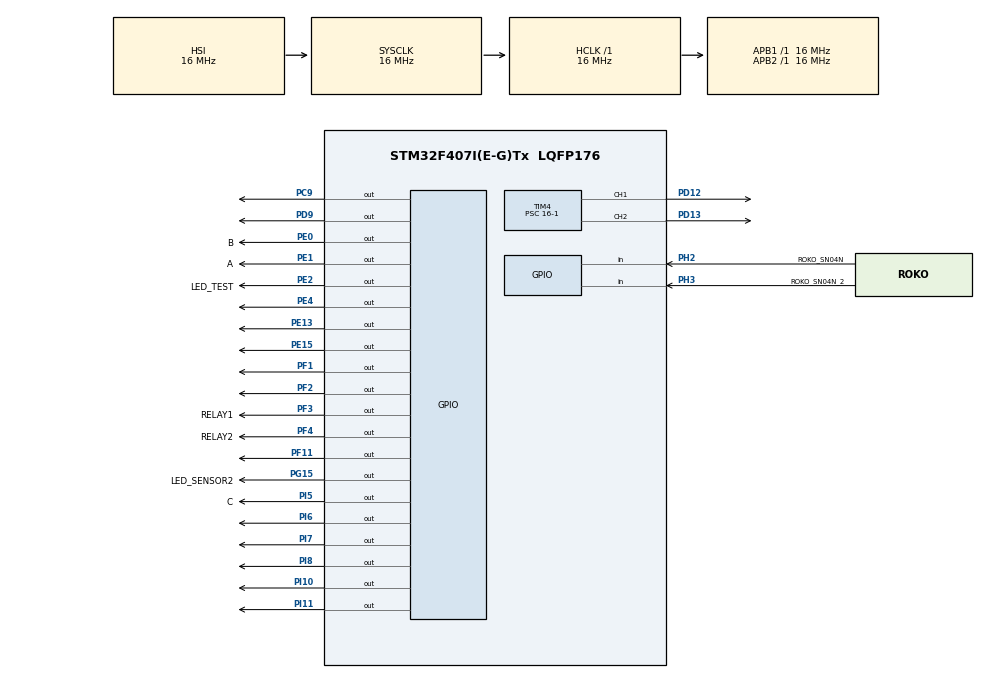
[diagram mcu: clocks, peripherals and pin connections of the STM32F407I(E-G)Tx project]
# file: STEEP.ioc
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Mcu.Family=STM32F4
Mcu.Name=STM32F407I(E-G)Tx
Mcu.Package=LQFP176
NVIC.PriorityGroup=NVIC_PRIORITYGROUP_4
PA13.Mode=Serial_Wire
PA13.Signal=SYS_JTMS-SWDIO
PA14.Mode=Serial_Wire
PA14.Signal=SYS_JTCK-SWCLK
PC14-OSC32_IN.Mode=LSE-External-Oscillator
PC14-OSC32_IN.Signal=RCC_OSC32_IN
PC15-OSC32_OUT.Mode=LSE-External-Oscillator
PC15-OSC32_OUT.Signal=RCC_OSC32_OUT
PC9.GPIO_Speed=GPIO_SPEED_FREQ_VERY_HIGH
PC9.Signal=GPIO_Output
PD12.Signal=S_TIM4_CH1
PD13.Signal=S_TIM4_CH2
PD9.GPIO_Speed=GPIO_SPEED_FREQ_VERY_HIGH
PD9.Signal=GPIO_Output
PE0.GPIO_Label=B
PE0.PinState=GPIO_PIN_SET
PE0.Signal=GPIO_Output
PE1.GPIO_Label=A
PE1.PinState=GPIO_PIN_SET
PE1.Signal=GPIO_Output
PE13.GPIO_Speed=GPIO_SPEED_FREQ_VERY_HIGH
PE13.PinState=GPIO_PIN_RESET
PE13.Signal=GPIO_Output
PE15.GPIO_Speed=GPIO_SPEED_FREQ_VERY_HIGH
PE15.Signal=GPIO_Output
PE2.GPIO_Label=LED_TEST
PE2.GPIO_PuPd=GPIO_PULLUP
PE2.PinState=GPIO_PIN_SET
PE2.Signal=GPIO_Output
PE4.GPIO_PuPd=GPIO_PULLUP
PE4.GPIO_Speed=GPIO_SPEED_FREQ_HIGH
PE4.Signal=GPIO_Output
PF1.GPIO_Speed=GPIO_SPEED_FREQ_VERY_HIGH
PF1.Signal=GPIO_Output
PF11.GPIO_Speed=GPIO_SPEED_FREQ_VERY_HIGH
PF11.Signal=GPIO_Output
PF2.GPIO_Speed=GPIO_SPEED_FREQ_VERY_HIGH
PF2.Signal=GPIO_Output
PF3.GPIO_Label=RELAY1
PF3.GPIO_Speed=GPIO_SPEED_FREQ_VERY_HIGH
PF3.PinState=GPIO_PIN_RESET
PF3.Signal=GPIO_Output
PF4.GPIO_Label=RELAY2
PF4.GPIO_Speed=GPIO_SPEED_FREQ_VERY_HIGH
PF4.PinState=GPIO_PIN_RESET
PF4.Signal=GPIO_Output
PG15.GPIO_Label=LED_SENSOR2
PG15.GPIO_PuPd=GPIO_PULLUP
PG15.PinState=GPIO_PIN_SET
PG15.Signal=GPIO_Output
PH0-OSC_IN.Mode=HSE-External-Oscillator
PH0-OSC_IN.Signal=RCC_OSC_IN
PH1-OSC_OUT.Mode=HSE-External-Oscillator
PH1-OSC_OUT.Signal=RCC_OSC_OUT
PH2.GPIO_Label=ROKO_SN04N
PH2.Signal=GPIO_Input
PH3.GPIO_Label=ROKO_SN04N_2
PH3.Signal=GPIO_Input
PI10.GPIO_Speed=GPIO_SPEED_FREQ_VERY_HIGH
PI10.Signal=GPIO_Output
PI11.GPIO_Speed=GPIO_SPEED_FREQ_VERY_HIGH
PI11.Signal=GPIO_Output
PI5.GPIO_Label=C
PI5.PinState=GPIO_PIN_SET
PI5.Signal=GPIO_Output
PI6.GPIO_PuPd=GPIO_PULLUP
PI6.GPIO_Speed=GPIO_SPEED_FREQ_HIGH
PI6.PinState=GPIO_PIN_RESET
PI6.Signal=GPIO_Output
PI7.GPIO_Speed=GPIO_SPEED_FREQ_VERY_HIGH
PI7.Signal=GPIO_Output
PI8-\ ANTI\ TAMP2.GPIO_PuPd=GPIO_PULLUP
PI8-\ ANTI\ TAMP2.GPIO_Speed=GPIO_SPEED_FREQ_HIGH
PI8-\ ANTI\ TAMP2.Signal=GPIO_Output
ProjectManager.HeapSize=0x200
ProjectManager.StackSize=0x400
ProjectManager.TargetToolchain=MDK-ARM V5.32
RCC.AHBFreq_Value=16000000
RCC.APB1Freq_Value=16000000
RCC.APB2Freq_Value=16000000
RCC.CortexFreq_Value=16000000
RCC.HSE_VALUE=25000000
RCC.HSI_VALUE=16000000
RCC.SYSCLKFreq_VALUE=16000000
RCC.VCOOutputFreq_Value=192000000
SH.S_TIM4_CH1.0=TIM4_CH1,PWM Generation1 CH1
SH.S_TIM4_CH2.0=TIM4_CH2,PWM Generation2 CH2
TIM4.Channel-PWM\ Generation1\ CH1=TIM_CHANNEL_1
TIM4.Channel-PWM\ Generation2\ CH2=TIM_CHANNEL_2
TIM4.OCPolarity_1=TIM_OCPOLARITY_LOW
TIM4.OCPolarity_2=TIM_OCPOLARITY_LOW
TIM4.Period=20000-1
TIM4.Prescaler=16-1
TIM4.Pulse-PWM\ Generation1\ CH1=1500
TIM4.Pulse-PWM\ Generation2\ CH2=1500
board=custom

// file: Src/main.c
/* USER CODE BEGIN Header */
/**
  ******************************************************************************
  * @file           : main.c
  * @brief          : Main program body
  ******************************************************************************
  * @attention
  *
  * Copyright (c) 2026 STMicroelectronics.
  * All rights reserved.
  *
  ******************************************************************************
  */
/* USER CODE END Header */

#include "main.h"
#include "gpio.h"
#include "tim.h"

/* USER CODE BEGIN PTD */
typedef struct
{
  GPIO_TypeDef *DIR_Port;
  uint16_t      DIR_Pin;

  GPIO_TypeDef *EN_Port;
  uint16_t      EN_Pin;
  uint8_t       Has_EN;

  GPIO_TypeDef *PUL_Port;
  uint16_t      PUL_Pin;
} StepperMotor_t;
/* USER CODE END PTD */

/* USER CODE BEGIN PD */

#define HIGH GPIO_PIN_SET
#define LOW  GPIO_PIN_RESET

/* Low level enable */
#define ON   LOW
#define OFF  HIGH

#define CW   GPIO_PIN_SET
#define CCW  GPIO_PIN_RESET

#define M1_STEP_US      5000U
#define M2_STEP_US      1000U
#define M3_STEP_US      1000U
#define M4_STEP_US      1000U
#define M5_STEP_US      800U
#define M6_STEP_US      300U
#define STEP_SUBDIVIDE  8.0f

/* Sensor1: J40 PH2 */
#define ROKO1_PORT GPIOH
#define ROKO1_PIN  GPIO_PIN_2

/* Sensor2: J40 PH3 */
#define ROKO2_PORT GPIOH
#define ROKO2_PIN  GPIO_PIN_3

/* LED for Sensor1: PE2 */
#define LED1_PORT  GPIOE
#define LED1_PIN   GPIO_PIN_2

/* LED for Sensor2: PG15 */
#define LED2_PORT  GPIOG
#define LED2_PIN   GPIO_PIN_15

#define LED_ON     GPIO_PIN_RESET
#define LED_OFF    GPIO_PIN_SET

/* Relay */
#define RELAY1_PORT GPIOF
#define RELAY1_PIN  GPIO_PIN_3   /* PF3 */

#define RELAY2_PORT GPIOF
#define RELAY2_PIN  GPIO_PIN_4   /* PF4 */

/*
   Relay output logic used by this program:
   GPIO_PIN_SET   = relay ON
   GPIO_PIN_RESET = relay OFF
*/
#define RELAY_ON    GPIO_PIN_SET
#define RELAY_OFF   GPIO_PIN_RESET

/* Motor1: J25 */
#define M1_DIR_PORT GPIOE
#define M1_DIR_PIN  GPIO_PIN_1
#define M1_EN_PORT  GPIOE
#define M1_EN_PIN   GPIO_PIN_0
#define M1_PUL_PORT GPIOI
#define M1_PUL_PIN  GPIO_PIN_5

/* Motor2: J26 */
#define M2_DIR_PORT GPIOI
#define M2_DIR_PIN  GPIO_PIN_8
#define M2_EN_PORT  GPIOE
#define M2_EN_PIN   GPIO_PIN_4
#define M2_PUL_PORT GPIOI
#define M2_PUL_PIN  GPIO_PIN_6

/* Motor3: J31 */
#define M3_DIR_PORT GPIOI
#define M3_DIR_PIN  GPIO_PIN_11
#define M3_EN_PORT  GPIOI
#define M3_EN_PIN   GPIO_PIN_10
#define M3_PUL_PORT GPIOI
#define M3_PUL_PIN  GPIO_PIN_7

/* Motor4: J32 */
#define M4_DIR_PORT GPIOF
#define M4_DIR_PIN  GPIO_PIN_2
#define M4_EN_PORT  GPIOF
#define M4_EN_PIN   GPIO_PIN_1
#define M4_PUL_PORT GPIOC
#define M4_PUL_PIN  GPIO_PIN_9

/* Motor5: External MD4CH */
#define M5_DIR_PORT GPIOE
#define M5_DIR_PIN  GPIO_PIN_15
#define M5_EN_PORT  NULL
#define M5_EN_PIN   GPIO_PIN_0
#define M5_PUL_PORT GPIOE
#define M5_PUL_PIN  GPIO_PIN_13

/* Motor6: External MD4CH */
#define M6_DIR_PORT GPIOF
#define M6_DIR_PIN  GPIO_PIN_11
#define M6_EN_PORT  NULL
#define M6_EN_PIN   GPIO_PIN_0
#define M6_PUL_PORT GPIOD
#define M6_PUL_PIN  GPIO_PIN_9

/*
   Servo 1 connection: J28 -> PD12 -> TIM4_CH1

   After Motor 5 finishes, Servo 1 rotates outward for about 90 degrees.
   At the end of the sequence, Servo 1 returns to its original position.
*/
#define SERVO1_STOP_US          1500U
#define SERVO1_CCW_US           1350U
#define SERVO1_CW_US            1650U
#define SERVO1_ROTATE_TIME_MS   900U

/*
   Servo 2 connection: J29 -> PD13 -> TIM4_CH2

   After Motor 3 finishes its motion, Servo 2 performs one forward-and-return action.
*/
#define SERVO2_STOP_US          1500U
#define SERVO2_CCW_US           1350U
#define SERVO2_CW_US            1650U
#define SERVO2_ROTATE_TIME_MS   1500U

/* USER CODE END PD */

/* USER CODE BEGIN PV */

static StepperMotor_t motor1 =
{
  M1_DIR_PORT, M1_DIR_PIN,
  M1_EN_PORT,  M1_EN_PIN, 1,
  M1_PUL_PORT, M1_PUL_PIN
};

static StepperMotor_t motor2 =
{
  M2_DIR_PORT, M2_DIR_PIN,
  M2_EN_PORT,  M2_EN_PIN, 1,
  M2_PUL_PORT, M2_PUL_PIN
};

static StepperMotor_t motor3 =
{
  M3_DIR_PORT, M3_DIR_PIN,
  M3_EN_PORT,  M3_EN_PIN, 1,
  M3_PUL_PORT, M3_PUL_PIN
};

static StepperMotor_t motor4 =
{
  M4_DIR_PORT, M4_DIR_PIN,
  M4_EN_PORT,  M4_EN_PIN, 1,
  M4_PUL_PORT, M4_PUL_PIN
};

static StepperMotor_t motor5 =
{
  M5_DIR_PORT, M5_DIR_PIN,
  M5_EN_PORT,  M5_EN_PIN, 0,
  M5_PUL_PORT, M5_PUL_PIN
};

static StepperMotor_t motor6 =
{
  M6_DIR_PORT, M6_DIR_PIN,
  M6_EN_PORT,  M6_EN_PIN, 0,
  M6_PUL_PORT, M6_PUL_PIN
};

/* USER CODE END PV */

void SystemClock_Config(void);

/* USER CODE BEGIN PFP */
static void delay_us_init(void);
static void delay_us(uint32_t us);

static void Stepper_GPIO_Manual_Init(void);
static void Sensor_LED_Manual_Init(void);

static void Stepper_SetDir(StepperMotor_t *m, GPIO_PinState dir);
static void Stepper_SetEn(StepperMotor_t *m, GPIO_PinState en_state);
static void Stepper_Pulse(StepperMotor_t *m, uint32_t tim_us);
static void Stepper_Init(StepperMotor_t *m);
static void Stepper_Turn(StepperMotor_t *m, uint32_t tim_us, float angle, float subdivide, GPIO_PinState dir);

static uint8_t Sensor1_IsTriggered(void);
static uint8_t Sensor2_IsTriggered(void);
static void Sensor_LED_Update(void);

static void Relay_Set(GPIO_TypeDef *port, uint16_t pin, GPIO_PinState state);
static void Relay_All_Off(void);

static void Stepper_Run_CW_Until_Sensor1(StepperMotor_t *m, uint32_t tim_us);
static void Wait_Until_Sensor2_Triggered(void);
static void Linkage_Run_Once(void);

/* J28 Servo1 */
static void Servo1_Start(void);
static void Servo1_SetPulse(uint16_t pulse_us);
static void Servo1_Stop(void);
static void Servo1_CCW(void);
static void Servo1_CW(void);
static void Servo1_TurnOut_After_Motor5(void);
static void Servo1_Return_At_End(void);

/* J29 Servo2 */
static void Servo2_Start(void);
static void Servo2_SetPulse(uint16_t pulse_us);
static void Servo2_Stop(void);
static void Servo2_CCW(void);
static void Servo2_CW(void);
static void Servo2_Action_After_Motor3(void);
/* USER CODE END PFP */

/* USER CODE BEGIN 0 */

static void Stepper_GPIO_Manual_Init(void)
{
  GPIO_InitTypeDef GPIO_InitStruct = {0};

  __HAL_RCC_GPIOC_CLK_ENABLE();
  __HAL_RCC_GPIOD_CLK_ENABLE();
  __HAL_RCC_GPIOE_CLK_ENABLE();
  __HAL_RCC_GPIOF_CLK_ENABLE();
  __HAL_RCC_GPIOI_CLK_ENABLE();

  /*
     GPIOE:
     PE0  -> M1_EN
     PE1  -> M1_DIR
     PE4  -> M2_EN
     PE13 -> M5_PUL
     PE15 -> M5_DIR
  */
  HAL_GPIO_WritePin(GPIOE, GPIO_PIN_0 | GPIO_PIN_4, GPIO_PIN_SET);
  HAL_GPIO_WritePin(GPIOE, GPIO_PIN_1 | GPIO_PIN_13 | GPIO_PIN_15, GPIO_PIN_RESET);

  GPIO_InitStruct.Pin = GPIO_PIN_0 | GPIO_PIN_1 | GPIO_PIN_4 | GPIO_PIN_13 | GPIO_PIN_15;
  GPIO_InitStruct.Mode = GPIO_MODE_OUTPUT_PP;
  GPIO_InitStruct.Pull = GPIO_NOPULL;
  GPIO_InitStruct.Speed = GPIO_SPEED_FREQ_VERY_HIGH;
  HAL_GPIO_Init(GPIOE, &GPIO_InitStruct);

  /*
     GPIOI:
     PI5  -> M1_PUL
     PI6  -> M2_PUL
     PI8  -> M2_DIR
     PI7  -> M3_PUL
     PI10 -> M3_EN
     PI11 -> M3_DIR
  */
  HAL_GPIO_WritePin(GPIOI, GPIO_PIN_10, GPIO_PIN_SET);
  HAL_GPIO_WritePin(GPIOI, GPIO_PIN_5 | GPIO_PIN_6 | GPIO_PIN_7 | GPIO_PIN_8 | GPIO_PIN_11, GPIO_PIN_RESET);

  GPIO_InitStruct.Pin = GPIO_PIN_5 | GPIO_PIN_6 | GPIO_PIN_7 |
                        GPIO_PIN_8 | GPIO_PIN_10 | GPIO_PIN_11;
  GPIO_InitStruct.Mode = GPIO_MODE_OUTPUT_PP;
  GPIO_InitStruct.Pull = GPIO_NOPULL;
  GPIO_InitStruct.Speed = GPIO_SPEED_FREQ_VERY_HIGH;
  HAL_GPIO_Init(GPIOI, &GPIO_InitStruct);

  /*
     GPIOC:
     PC9 -> M4_PUL
  */
  HAL_GPIO_WritePin(GPIOC, GPIO_PIN_9, GPIO_PIN_RESET);

  GPIO_InitStruct.Pin = GPIO_PIN_9;
  GPIO_InitStruct.Mode = GPIO_MODE_OUTPUT_PP;
  GPIO_InitStruct.Pull = GPIO_NOPULL;
  GPIO_InitStruct.Speed = GPIO_SPEED_FREQ_VERY_HIGH;
  HAL_GPIO_Init(GPIOC, &GPIO_InitStruct);

  /*
     GPIOF:
     PF1  -> M4_EN
     PF2  -> M4_DIR
     PF3  -> Relay1
     PF4  -> Relay2
     PF11 -> M6_DIR
  */
  HAL_GPIO_WritePin(GPIOF, GPIO_PIN_1, GPIO_PIN_SET);
  HAL_GPIO_WritePin(GPIOF, GPIO_PIN_2 | GPIO_PIN_11, GPIO_PIN_RESET);

  /*
     Initialize both relay outputs to the OFF state:
     GPIO_PIN_RESET = relay OFF
  */
  HAL_GPIO_WritePin(GPIOF, GPIO_PIN_3 | GPIO_PIN_4, GPIO_PIN_RESET);

  GPIO_InitStruct.Pin = GPIO_PIN_1 | GPIO_PIN_2 | GPIO_PIN_3 |
                        GPIO_PIN_4 | GPIO_PIN_11;
  GPIO_InitStruct.Mode = GPIO_MODE_OUTPUT_PP;
  GPIO_InitStruct.Pull = GPIO_NOPULL;
  GPIO_InitStruct.Speed = GPIO_SPEED_FREQ_VERY_HIGH;
  HAL_GPIO_Init(GPIOF, &GPIO_InitStruct);

  /*
     GPIOD:
     PD9 -> M6_PUL

     Important:
     PD12 is used by J28 Servo 1 through TIM4_CH1 and must be configured by CubeMX.
     PD13 is used by J29 Servo 2 through TIM4_CH2 and must be configured by CubeMX.
     Do not reconfigure PD12 or PD13 as ordinary GPIO outputs here.
  */
  HAL_GPIO_WritePin(GPIOD, GPIO_PIN_9, GPIO_PIN_RESET);

  GPIO_InitStruct.Pin = GPIO_PIN_9;
  GPIO_InitStruct.Mode = GPIO_MODE_OUTPUT_PP;
  GPIO_InitStruct.Pull = GPIO_NOPULL;
  GPIO_InitStruct.Speed = GPIO_SPEED_FREQ_VERY_HIGH;
  HAL_GPIO_Init(GPIOD, &GPIO_InitStruct);
}

static void Sensor_LED_Manual_Init(void)
{
  GPIO_InitTypeDef GPIO_InitStruct = {0};

  __HAL_RCC_GPIOH_CLK_ENABLE();
  __HAL_RCC_GPIOE_CLK_ENABLE();
  __HAL_RCC_GPIOG_CLK_ENABLE();

  /*
     PH2 -> Sensor1
     PH3 -> Sensor2

     Sensor input logic:
     GPIO_PIN_RESET = sensor triggered
     GPIO_PIN_SET   = sensor not triggered
  */
  GPIO_InitStruct.Pin = ROKO1_PIN | ROKO2_PIN;
  GPIO_InitStruct.Mode = GPIO_MODE_INPUT;
  GPIO_InitStruct.Pull = GPIO_NOPULL;
  HAL_GPIO_Init(GPIOH, &GPIO_InitStruct);

  /*
     PE2  -> Sensor1 LED
     PG15 -> Sensor2 LED

     LED:
     GPIO_PIN_RESET = LED ON
     GPIO_PIN_SET   = LED OFF
  */
  HAL_GPIO_WritePin(LED1_PORT, LED1_PIN, LED_OFF);
  HAL_GPIO_WritePin(LED2_PORT, LED2_PIN, LED_OFF);

  GPIO_InitStruct.Pin = LED1_PIN;
  GPIO_InitStruct.Mode = GPIO_MODE_OUTPUT_PP;
  GPIO_InitStruct.Pull = GPIO_PULLUP;
  GPIO_InitStruct.Speed = GPIO_SPEED_FREQ_LOW;
  HAL_GPIO_Init(LED1_PORT, &GPIO_InitStruct);

  GPIO_InitStruct.Pin = LED2_PIN;
  GPIO_InitStruct.Mode = GPIO_MODE_OUTPUT_PP;
  GPIO_InitStruct.Pull = GPIO_PULLUP;
  GPIO_InitStruct.Speed = GPIO_SPEED_FREQ_LOW;
  HAL_GPIO_Init(LED2_PORT, &GPIO_InitStruct);
}

static void delay_us_init(void)
{
  CoreDebug->DEMCR |= CoreDebug_DEMCR_TRCENA_Msk;
  DWT->CYCCNT = 0;
  DWT->CTRL |= DWT_CTRL_CYCCNTENA_Msk;
}

static void delay_us(uint32_t us)
{
  uint32_t ticks = us * (HAL_RCC_GetHCLKFreq() / 1000000U);
  uint32_t start = DWT->CYCCNT;

  while ((DWT->CYCCNT - start) < ticks)
  {
  }
}

static void Stepper_SetDir(StepperMotor_t *m, GPIO_PinState dir)
{
  HAL_GPIO_WritePin(m->DIR_Port, m->DIR_Pin, dir);
}

static void Stepper_SetEn(StepperMotor_t *m, GPIO_PinState en_state)
{
  if (m->Has_EN && m->EN_Port != NULL)
  {
    HAL_GPIO_WritePin(m->EN_Port, m->EN_Pin, en_state);
  }
}

static void Stepper_Pulse(StepperMotor_t *m, uint32_t tim_us)
{
  HAL_GPIO_WritePin(m->PUL_Port, m->PUL_Pin, HIGH);
  delay_us(tim_us / 2);

  HAL_GPIO_WritePin(m->PUL_Port, m->PUL_Pin, LOW);
  delay_us(tim_us / 2);
}

static void Stepper_Init(StepperMotor_t *m)
{
  Stepper_SetEn(m, OFF);
  HAL_GPIO_WritePin(m->PUL_Port, m->PUL_Pin, LOW);
  Stepper_SetDir(m, CW);
}

static void Stepper_Turn(StepperMotor_t *m, uint32_t tim_us, float angle, float subdivide, GPIO_PinState dir)
{
  int n;
  int i;

  n = (int)(angle / (1.8f / subdivide));

  Stepper_SetDir(m, dir);
  HAL_Delay(5);

  Stepper_SetEn(m, ON);

  for (i = 0; i < n; i++)
  {
    Stepper_Pulse(m, tim_us);
  }

  Stepper_SetEn(m, OFF);
}

static uint8_t Sensor1_IsTriggered(void)
{
  return (HAL_GPIO_ReadPin(ROKO1_PORT, ROKO1_PIN) == GPIO_PIN_RESET);
}

static uint8_t Sensor2_IsTriggered(void)
{
  return (HAL_GPIO_ReadPin(ROKO2_PORT, ROKO2_PIN) == GPIO_PIN_RESET);
}

static void Sensor_LED_Update(void)
{
  if (Sensor1_IsTriggered())
  {
    HAL_GPIO_WritePin(LED1_PORT, LED1_PIN, LED_ON);
  }
  else
  {
    HAL_GPIO_WritePin(LED1_PORT, LED1_PIN, LED_OFF);
  }

  if (Sensor2_IsTriggered())
  {
    HAL_GPIO_WritePin(LED2_PORT, LED2_PIN, LED_ON);
  }
  else
  {
    HAL_GPIO_WritePin(LED2_PORT, LED2_PIN, LED_OFF);
  }
}

static void Relay_Set(GPIO_TypeDef *port, uint16_t pin, GPIO_PinState state)
{
  HAL_GPIO_WritePin(port, pin, state);
}

static void Relay_All_Off(void)
{
  Relay_Set(RELAY1_PORT, RELAY1_PIN, RELAY_OFF);
  Relay_Set(RELAY2_PORT, RELAY2_PIN, RELAY_OFF);
}

/*
   Run Motor 4 in the configured direction
   until Sensor 1 on PH2 is triggered.
*/
static void Stepper_Run_CW_Until_Sensor1(StepperMotor_t *m, uint32_t tim_us)
{
  Stepper_SetDir(m, CCW);
  HAL_Delay(5);

  Stepper_SetEn(m, ON);

  while (!Sensor1_IsTriggered())
  {
    Stepper_Pulse(m, tim_us);
    Sensor_LED_Update();
  }

  Stepper_SetEn(m, OFF);
}

/*
   Wait until Sensor 2 on PH3 is triggered.
*/
static void Wait_Until_Sensor2_Triggered(void)
{
  while (!Sensor2_IsTriggered())
  {
    Sensor_LED_Update();
    HAL_Delay(10);
  }
}

/*
   Servo 1 connection: J28 -> PD12 -> TIM4_CH1
*/
static void Servo1_Start(void)
{
  HAL_TIM_PWM_Start(&htim4, TIM_CHANNEL_1);

  Servo1_Stop();
  HAL_Delay(300);
}

static void Servo1_SetPulse(uint16_t pulse_us)
{
  /*
     This board uses an inverting level-shifter for the servo signal.
     With TIM4 channel polarity configured correctly in CubeMX,
     write the desired pulse width directly to the compare register.
  */
  __HAL_TIM_SET_COMPARE(&htim4, TIM_CHANNEL_1, pulse_us);
}

static void Servo1_Stop(void)
{
  Servo1_SetPulse(SERVO1_STOP_US);
}

static void Servo1_CCW(void)
{
  Servo1_SetPulse(SERVO1_CCW_US);
}

static void Servo1_CW(void)
{
  Servo1_SetPulse(SERVO1_CW_US);
}

/*
   Action after Motor 5 finishes:
   rotate Servo 1 outward for the preset time, then stop it.
*/
static void Servo1_TurnOut_After_Motor5(void)
{
  Servo1_CW();
  HAL_Delay(SERVO1_ROTATE_TIME_MS);

  Servo1_Stop();
  HAL_Delay(300);
}

/*
   Final action of the sequence:
   rotate Servo 1 back to its original position, then stop it.
*/
static void Servo1_Return_At_End(void)
{
  Servo1_CCW();
  HAL_Delay(SERVO1_ROTATE_TIME_MS);

  Servo1_Stop();
  HAL_Delay(300);
}

/*
   Servo 2 connection: J29 -> PD13 -> TIM4_CH2
*/
static void Servo2_Start(void)
{
  HAL_TIM_PWM_Start(&htim4, TIM_CHANNEL_2);

  Servo2_Stop();
  HAL_Delay(4000);
}

static void Servo2_SetPulse(uint16_t pulse_us)
{
  /*
     This board uses an inverting level-shifter for the servo signal.
     With TIM4 channel polarity configured correctly in CubeMX,
     write the desired pulse width directly to the compare register.
  */
  __HAL_TIM_SET_COMPARE(&htim4, TIM_CHANNEL_2, pulse_us);
}

static void Servo2_Stop(void)
{
  Servo2_SetPulse(SERVO2_STOP_US);
}

static void Servo2_CCW(void)
{
  Servo2_SetPulse(SERVO2_CCW_US);
}

static void Servo2_CW(void)
{
  Servo2_SetPulse(SERVO2_CW_US);
}

/*
   Action after Motor 3 finishes:
   rotate Servo 2 in the CCW direction,
   hold the stopped state for 3 seconds,
   then rotate it back in the CW direction and stop.
*/
static void Servo2_Action_After_Motor3(void)
{
  Servo2_CCW();
  HAL_Delay(SERVO2_ROTATE_TIME_MS);

  Servo2_Stop();
  HAL_Delay(3000);

  Servo2_CW();
  HAL_Delay(SERVO2_ROTATE_TIME_MS);

  Servo2_Stop();
  HAL_Delay(300);
}

/*
   Execute one complete linkage sequence.
*/
static void Linkage_Run_Once(void)
{
  /* Reset all outputs to a safe initial state before starting the sequence. */
  Relay_All_Off();
  Servo1_Stop();
  Servo2_Stop();
  Sensor_LED_Update();
  HAL_Delay(100);

  /* 1. Rotate Motor 5 by the specified angle. */
  Stepper_Turn(&motor5, M5_STEP_US, 90.0f, STEP_SUBDIVIDE, CCW);
  HAL_Delay(1500);

	  /* 1. Rotate Motor 5 by the specified angle. */
  Stepper_Turn(&motor5, M5_STEP_US, 100.0f, STEP_SUBDIVIDE, CCW);
  HAL_Delay(1000);

  /* 2. After Motor 5 stops, rotate Servo 1 outward. */
  Servo1_TurnOut_After_Motor5();

  /* 3. Turn Relay 1 on and run Motor 4 until Sensor 1 is triggered. */
  Relay_Set(RELAY1_PORT, RELAY1_PIN, RELAY_ON);
  Stepper_Run_CW_Until_Sensor1(&motor4, M4_STEP_US);

  /*
     4. After Sensor 1 is triggered:
        stop Motor 4,
        turn Relay 1 off,
        and turn Relay 2 on.
  */
  Relay_Set(RELAY1_PORT, RELAY1_PIN, RELAY_OFF);
  Relay_Set(RELAY2_PORT, RELAY2_PIN, RELAY_ON);
  Sensor_LED_Update();
  HAL_Delay(2000);

  /* 5. Rotate Motor 6 by one revolution. */
  Stepper_Turn(&motor6, M6_STEP_US, 360.0f, STEP_SUBDIVIDE, CCW);
  HAL_Delay(2000);

  /* 6. Rotate Motor 1 clockwise by 90 degrees. */
  Stepper_Turn(&motor1, M1_STEP_US, 90.0f, STEP_SUBDIVIDE, CW);
  HAL_Delay(2000);

  /* 7. Rotate Motor 2 by one revolution. */
  Stepper_Turn(&motor2, M2_STEP_US, 360.0f, STEP_SUBDIVIDE, CCW);
  HAL_Delay(300);

  /* 8. Wait until Sensor 2 on PH3 is triggered. */
  Wait_Until_Sensor2_Triggered();

  /* 9. After Sensor 2 is triggered, turn Relay 2 off. */
  Relay_Set(RELAY2_PORT, RELAY2_PIN, RELAY_OFF);
  Sensor_LED_Update();
  HAL_Delay(300);

  /* 10. Rotate Motor 3 one revolution in the CCW direction. */
  Stepper_Turn(&motor3, M3_STEP_US, 200.0f, STEP_SUBDIVIDE, CW);
  HAL_Delay(300);

  /* 11. Rotate Motor 3 one revolution in the CW direction. */
  Stepper_Turn(&motor3, M3_STEP_US, 200.0f, STEP_SUBDIVIDE, CCW);
  HAL_Delay(300);

  /* 12. After Motor 3 finishes, run the Servo 2 forward-and-return action. */
  Servo2_Action_After_Motor3();

  /* 13. Rotate Motor 1 counterclockwise by 90 degrees. */
  Stepper_Turn(&motor1, M1_STEP_US, 90.0f, STEP_SUBDIVIDE, CCW);
  HAL_Delay(300);

  /* 14. At the end of the sequence, return Servo 1 to its original position. */
  Servo1_Return_At_End();

  /* Finish the sequence by switching off the relays and stopping both servos. */
  Relay_All_Off();
  Servo1_Stop();
  Servo2_Stop();
  Sensor_LED_Update();
}

/* USER CODE END 0 */

int main(void)
{
  HAL_Init();

  SystemClock_Config();

  MX_GPIO_Init();
  MX_TIM4_Init();

  /* USER CODE BEGIN 2 */

  Stepper_GPIO_Manual_Init();
  Sensor_LED_Manual_Init();
  delay_us_init();

  Stepper_Init(&motor1);
  Stepper_Init(&motor2);
  Stepper_Init(&motor3);
  Stepper_Init(&motor4);
  Stepper_Init(&motor5);
  Stepper_Init(&motor6);

  Relay_All_Off();

  Servo1_Start();
  Servo2_Start();

  HAL_Delay(1000);

  /* USER CODE END 2 */

  /* USER CODE BEGIN WHILE */
  while (1)
  {
    Linkage_Run_Once();

    HAL_Delay(3000);

    /* USER CODE END WHILE */

  }
}

void SystemClock_Config(void)
{
  RCC_OscInitTypeDef RCC_OscInitStruct = {0};
  RCC_ClkInitTypeDef RCC_ClkInitStruct = {0};

  __HAL_RCC_PWR_CLK_ENABLE();
  __HAL_PWR_VOLTAGESCALING_CONFIG(PWR_REGULATOR_VOLTAGE_SCALE1);

  RCC_OscInitStruct.OscillatorType = RCC_OSCILLATORTYPE_HSI;
  RCC_OscInitStruct.HSIState = RCC_HSI_ON;
  RCC_OscInitStruct.HSICalibrationValue = RCC_HSICALIBRATION_DEFAULT;
  RCC_OscInitStruct.PLL.PLLState = RCC_PLL_NONE;

  if (HAL_RCC_OscConfig(&RCC_OscInitStruct) != HAL_OK)
  {
    Error_Handler();
  }

  RCC_ClkInitStruct.ClockType = RCC_CLOCKTYPE_HCLK | RCC_CLOCKTYPE_SYSCLK |
                                RCC_CLOCKTYPE_PCLK1 | RCC_CLOCKTYPE_PCLK2;

  RCC_ClkInitStruct.SYSCLKSource = RCC_SYSCLKSOURCE_HSI;
  RCC_ClkInitStruct.AHBCLKDivider = RCC_SYSCLK_DIV1;
  RCC_ClkInitStruct.APB1CLKDivider = RCC_HCLK_DIV1;
  RCC_ClkInitStruct.APB2CLKDivider = RCC_HCLK_DIV1;

  if (HAL_RCC_ClockConfig(&RCC_ClkInitStruct, FLASH_LATENCY_0) != HAL_OK)
  {
    Error_Handler();
  }
}

void Error_Handler(void)
{
  __disable_irq();

  while (1)
  {
  }
}

/************************ (C) COPYRIGHT STMicroelectronics *****END OF FILE****/
